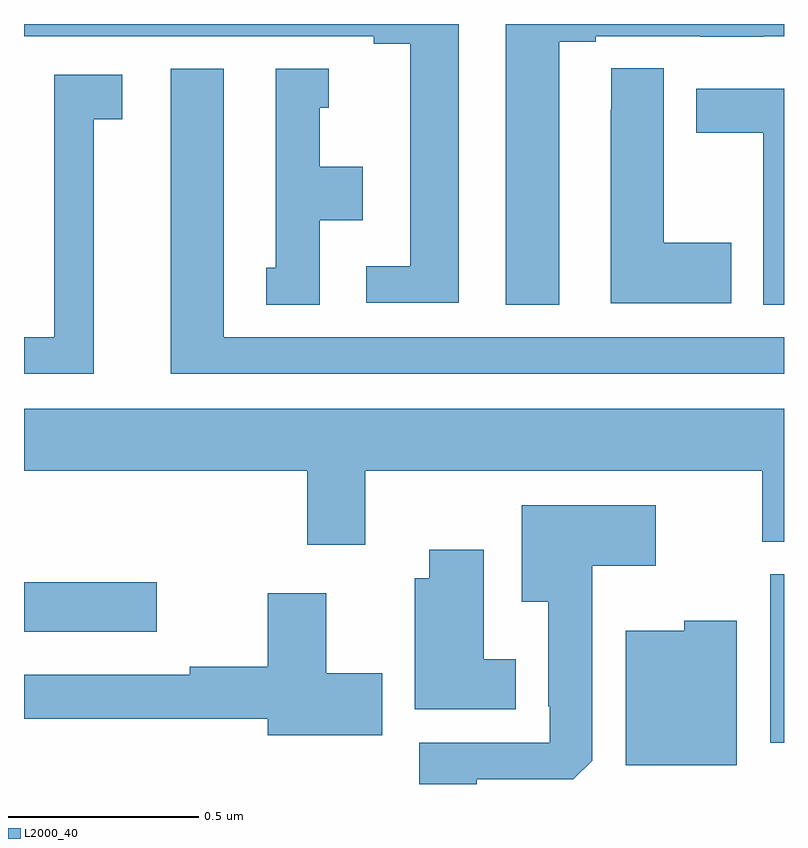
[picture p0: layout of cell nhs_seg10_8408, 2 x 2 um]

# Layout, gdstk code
import gdstk
lib = gdstk.Library(unit=1e-6, precision=1e-09)
def R(c, l, rs):  # rectangles x0, y0, x1, y1
    for r in rs: c.add(gdstk.rectangle(r[:2], r[2:], *l))
def P(c, l, *ps):  # polygons
    for p in ps: c.add(gdstk.Polygon(p, *l))
L2000_40 = (2000, 40)

nhs_seg10_8408 = lib.new_cell('nhs_seg10_8408')
R(nhs_seg10_8408, L2000_40, [(217.964,1291.608,218,1292.052), (216,1291.901,216.349,1292.031)])
P(nhs_seg10_8408, L2000_40, [(217.408,1293.453),(217.504,1293.453),(217.504,1293.468),(217.78,1293.468),(217.78,1293.467),(217.946,1293.467),(217.946,1293.468),(218,1293.468),(218,1293.5),(217.268,1293.5),(217.268,1292.761),(217.408,1292.761)],
  [(217.144,1293.5),(216,1293.5),(216,1293.468),(216.92,1293.468),(216.92,1293.448),(217.016,1293.448),(217.016,1292.862),(216.9,1292.862),(216.9,1292.766),(217.144,1292.766)],
  [(217.861,1292.925),(217.684,1292.925),(217.684,1293.383),(217.545,1293.383),(217.545,1293.275),(217.544,1293.275),(217.544,1292.765),(217.861,1292.765)],
  [(218,1292.676),(216.526,1292.676),(216.526,1293.382),(216.386,1293.382),(216.386,1292.58),(218,1292.58)],
  [(216.778,1292.984),(216.892,1292.984),(216.892,1293.124),(216.778,1293.124),(216.778,1293.279),(216.802,1293.279),(216.802,1293.382),(216.662,1293.382),(216.662,1292.859),(216.638,1292.859),(216.638,1292.761),(216.778,1292.761)],
  [(216.184,1293.25),(216.259,1293.25),(216.259,1293.366),(216.08,1293.366),(216.08,1292.676),(216,1292.676),(216,1292.58),(216.184,1292.58)],
  [(218,1293.33),(217.769,1293.33),(217.769,1293.214),(217.946,1293.214),(217.946,1292.761),(218,1292.761)],
  [(216.898,1292.324),(217.943,1292.324),(217.943,1292.137),(218,1292.137),(218,1292.488),(216,1292.488),(216,1292.324),(216.746,1292.324),(216.746,1292.13),(216.898,1292.13)],
  [(217.192,1291.512),(217.446,1291.512),(217.495,1291.561),(217.495,1292.075),(217.663,1292.075),(217.663,1292.233),(217.31,1292.233),(217.31,1291.979),(217.379,1291.979),(217.379,1291.705),(217.383,1291.705),(217.383,1291.608),(217.04,1291.608),(217.04,1291.5),(217.192,1291.5)],
  [(217.294,1291.828),(217.21,1291.828),(217.21,1292.116),(217.067,1292.116),(217.067,1292.041),(217.028,1292.041),(217.028,1291.697),(217.294,1291.697)],
  [(216.943,1291.791),(216.796,1291.791),(216.796,1292.002),(216.641,1292.002),(216.641,1291.808),(216.436,1291.808),(216.436,1291.788),(216,1291.788),(216,1291.672),(216.641,1291.672),(216.641,1291.628),(216.943,1291.628)],
  [(217.876,1291.93),(217.737,1291.93),(217.737,1291.903),(217.583,1291.903),(217.583,1291.55),(217.876,1291.55)])

lib.write_gds('nhs_seg10_8408.gds')
